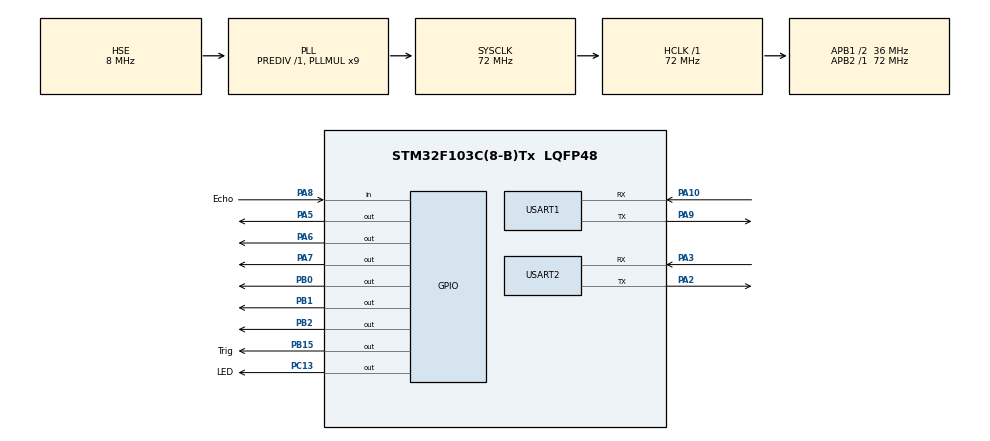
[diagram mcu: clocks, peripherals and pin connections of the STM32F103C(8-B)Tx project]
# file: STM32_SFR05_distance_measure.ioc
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Mcu.Family=STM32F1
Mcu.Name=STM32F103C(8-B)Tx
Mcu.Package=LQFP48
NVIC.PriorityGroup=NVIC_PRIORITYGROUP_4
NVIC.TIM2_IRQn=true\:0\:0\:false\:false\:true\:true\:true\:true
PA10.Mode=Asynchronous
PA10.Signal=USART1_RX
PA13.Mode=Serial_Wire
PA13.Signal=SYS_JTMS-SWDIO
PA14.Mode=Serial_Wire
PA14.Signal=SYS_JTCK-SWCLK
PA2.Mode=Asynchronous
PA2.Signal=USART2_TX
PA3.Mode=Asynchronous
PA3.Signal=USART2_RX
PA5.Signal=GPIO_Output
PA6.Signal=GPIO_Output
PA7.Signal=GPIO_Output
PA8.GPIO_Label=Echo
PA8.Signal=GPIO_Input
PA9.Mode=Asynchronous
PA9.Signal=USART1_TX
PB0.Signal=GPIO_Output
PB1.Signal=GPIO_Output
PB15.GPIO_Label=Trig
PB15.GPIO_Speed=GPIO_SPEED_FREQ_HIGH
PB15.Signal=GPIO_Output
PB2.Signal=GPIO_Output
PC13-TAMPER-RTC.GPIO_Label=LED
PC13-TAMPER-RTC.PinState=GPIO_PIN_SET
PC13-TAMPER-RTC.Signal=GPIO_Output
PD0-OSC_IN.Mode=HSE-External-Oscillator
PD0-OSC_IN.Signal=RCC_OSC_IN
PD1-OSC_OUT.Mode=HSE-External-Oscillator
PD1-OSC_OUT.Signal=RCC_OSC_OUT
ProjectManager.HeapSize=0x200
ProjectManager.StackSize=0x400
ProjectManager.TargetToolchain=CMake
RCC.AHBFreq_Value=72000000
RCC.APB1CLKDivider=RCC_HCLK_DIV2
RCC.APB1Freq_Value=36000000
RCC.APB1TimFreq_Value=72000000
RCC.APB2Freq_Value=72000000
RCC.APB2TimFreq_Value=72000000
RCC.HCLKFreq_Value=72000000
RCC.PLLMUL=RCC_PLL_MUL9
RCC.PLLSourceVirtual=RCC_PLLSOURCE_HSE
RCC.SYSCLKFreq_VALUE=72000000
RCC.SYSCLKSource=RCC_SYSCLKSOURCE_PLLCLK
RCC.USBFreq_Value=72000000
TIM2.Period=1999
TIM2.Prescaler=7199
USART1.VirtualMode=VM_ASYNC
USART2.VirtualMode=VM_ASYNC
VP_TIM2_VS_ClockSourceINT.Mode=Internal
board=custom

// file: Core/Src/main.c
/* USER CODE BEGIN Header */
/**
  ******************************************************************************
  * @file           : main.c
  * @brief          : Main program body
  ******************************************************************************
  * @attention
  *
  * Copyright (c) 2026 STMicroelectronics.
  * All rights reserved.
  *
  * This software is licensed under terms that can be found in the LICENSE file
  * in the root directory of this software component.
  * If no LICENSE file comes with this software, it is provided AS-IS.
  *
  ******************************************************************************
  */
/* USER CODE END Header */
#include "main.h"

/* USER CODE BEGIN Includes */
#include <stdio.h>
#include "app_config.h"
#include "lcd16x2.h"
/* USER CODE END Includes */

TIM_HandleTypeDef htim2;

UART_HandleTypeDef huart1;
UART_HandleTypeDef huart2;

/* USER CODE BEGIN PV */
volatile uint8_t led_blink_enabled = 0;
volatile uint16_t led_toggle_interval = 15; // Chu kỳ nháy: interval * 10ms
/* USER CODE END PV */

void SystemClock_Config(void);
static void MX_GPIO_Init(void);
static void MX_USART2_UART_Init(void);
static void MX_USART1_UART_Init(void);
static void MX_TIM2_Init(void);
/* USER CODE BEGIN PFP */
void DWT_Init(void);
void delay_us(uint32_t us);
uint32_t pulseIn(GPIO_TypeDef *GPIOx, uint16_t GPIO_Pin, GPIO_PinState state, uint32_t timeout_us);
float measureDistanceCM(void);
/* USER CODE END PFP */

/* USER CODE BEGIN 0 */
int _write(int file, char *ptr, int len)
{
  HAL_UART_Transmit(&huart1, (uint8_t *)ptr, len, HAL_MAX_DELAY);
  HAL_UART_Transmit(&huart2, (uint8_t *)ptr, len, HAL_MAX_DELAY);
  return len;
}

void DWT_Init(void)
{
  CoreDebug->DEMCR |= CoreDebug_DEMCR_TRCENA_Msk;
  DWT->CTRL |= DWT_CTRL_CYCCNTENA_Msk;
  DWT->CYCCNT = 0;
}

void delay_us(uint32_t us)
{
  uint32_t start = DWT->CYCCNT;
  uint32_t ticks = us * (SystemCoreClock / 1000000UL);
  while ((DWT->CYCCNT - start) < ticks);
}

uint32_t pulseIn(GPIO_TypeDef *GPIOx, uint16_t GPIO_Pin, GPIO_PinState state, uint32_t timeout_us)
{
  uint32_t timeout_ticks = timeout_us * (SystemCoreClock / 1000000UL);
  uint32_t min_ticks = 50UL * (SystemCoreClock / 1000000UL);
  uint32_t start_wait = DWT->CYCCNT;

  while ((DWT->CYCCNT - start_wait) < timeout_ticks)
  {
    while (HAL_GPIO_ReadPin(GPIOx, GPIO_Pin) == state)
    {
      if ((DWT->CYCCNT - start_wait) > timeout_ticks) return 0;
    }
    while (HAL_GPIO_ReadPin(GPIOx, GPIO_Pin) != state)
    {
      if ((DWT->CYCCNT - start_wait) > timeout_ticks) return 0;
    }
    uint32_t pulse_start = DWT->CYCCNT;
    while (HAL_GPIO_ReadPin(GPIOx, GPIO_Pin) == state)
    {
      if ((DWT->CYCCNT - pulse_start) > timeout_ticks) return 0;
    }
    uint32_t pulse_ticks = DWT->CYCCNT - pulse_start;
    if (pulse_ticks >= min_ticks)
    {
      return pulse_ticks / (SystemCoreClock / 1000000UL);
    }
  }
  return 0;
}

volatile uint32_t last_duration_us = 0;

float measureDistanceCM(void)
{
  // 1. Đảm bảo Trigger ở mức LOW trước khi phát
  HAL_GPIO_WritePin(TRIGGER_PORT, TRIGGER_PIN, GPIO_PIN_RESET);
  delay_us(4);

  // 2. Phát xung 10us kích hoạt SRF05
  HAL_GPIO_WritePin(TRIGGER_PORT, TRIGGER_PIN, GPIO_PIN_SET);
  delay_us(10);
  HAL_GPIO_WritePin(TRIGGER_PORT, TRIGGER_PIN, GPIO_PIN_RESET);

  // 3. Đọc độ rộng xung chân Echo
  uint32_t duration = pulseIn(ECHO_PORT, ECHO_PIN, GPIO_PIN_SET, MAX_ECHO_TIMEOUT_US);
  last_duration_us = duration;

  // 4. Lọc nhiễu:
  // - duration == 0: Hết thời gian chờ (không có sóng hồi / quá xa / tuột dây)
  // - duration < 116us: Khoảng cách < 2cm (ngoài vùng vật lý của SRF05 hoặc xung nhiễu điện)
  if (duration == 0)
  {
    return -1.0f; // Timeout / Không thấy vật thể
  }
  if (duration < 116)
  {
    return -2.0f; // Quá gần (< 2cm vùng mù) hoặc xung nhiễu
  }

  // Vận tốc âm thanh: 0.0343 cm/us -> khoảng cách = (thời gian * 0.0343) / 2
  return ((float)duration * SOUND_SPEED_CM_US) / 2.0f;
}
/* USER CODE END 0 */

int main(void)
{

  /* MCU Configuration--------------------------------------------------------*/

  /* Reset of all peripherals, Initializes the Flash interface and the Systick. */
  HAL_Init();

  /* Configure the system clock */
  SystemClock_Config();

  /* Initialize all configured peripherals */
  MX_GPIO_Init();
  MX_USART2_UART_Init();
  MX_USART1_UART_Init();
  MX_TIM2_Init();
  /* USER CODE BEGIN 2 */
  DWT_Init();

  // Đảm bảo ban đầu LED tắt hoàn toàn
  LED_OFF();

  // Cấu hình TIM2 ngắt định kỳ 10ms cố định (Prescaler=7199 -> 10kHz, Period=99 -> 10ms)
  // Không bao giờ đổi ARR khi đang chạy để tránh lỗi CNT > ARR làm đơ ngắt
  __HAL_TIM_SET_AUTORELOAD(&htim2, 99);
  htim2.Instance->CNT = 0;
  HAL_TIM_Base_Start_IT(&htim2);

  // Khởi tạo màn hình LCD 16x2 chế độ 4-bit
  lcd16x2_init(LCD16X2_DISPLAY_ON_CURSOR_OFF_BLINK_OFF);
  lcd16x2_gotoxy(0, 0);
  lcd16x2_puts("SRF05 Ultrasonic");
  lcd16x2_gotoxy(0, 1);
  lcd16x2_puts("Khoi dong...    ");

  HAL_Delay(1000);

  printf("\r\n==================================================\r\n");
  printf("   STM32 - DO KHOANG CACH SIEU AM SRF05           \r\n");
  printf("==================================================\r\n");
  printf("Trigger: PB15 | Echo: PA8 | LED: PC13\r\n");
  printf("LCD 16x2 (4-bit): RS=PB12, RW=PB13, EN=PB14, D4=PA4, D5=PA5, D6=PA6, D7=PA7\r\n");
  printf("Canh bao: Khoang cach tu %.1f cm den %.1f cm -> LED chop tat\r\n",
         DISTANCE_WARN_MIN_CM, DISTANCE_WARN_MAX_CM);
  printf("Output UART: USART1 (PA9_TX) & USART2 (PA2_TX) | Baud: %d\r\n", SERIAL_BAUD_RATE);

  HAL_Delay(200);
  /* USER CODE END 2 */

  /* Infinite loop */
  while (1)
  {

    /* USER CODE BEGIN 3 */
    float distance = measureDistanceCM();
    static uint8_t alert_active = 0;
    static uint8_t miss_count = 0;

    // Điều kiện cảnh báo: từ khoảng cách tối thiểu (2.0 cm) đến 10.0 cm hoặc vật thể sát cảm biến (< 2cm)
    if ((distance >= DISTANCE_WARN_MIN_CM && distance <= DISTANCE_WARN_MAX_CM) || (distance == -2.0f))
    {
      float d = (distance == -2.0f) ? DISTANCE_WARN_MIN_CM : distance;

      // Chu kỳ chớp tắt:
      // - Ở 10.0 cm: interval = 20 (toggle mỗi 200ms -> chu kỳ 400ms = 2.5 lần/giây, rất rõ ràng)
      // - Ở  2.0 cm: interval =  6 (toggle mỗi  60ms -> chu kỳ 120ms = ~8.3 lần/giây, cảnh báo nhanh)
      uint16_t interval = 6 + (uint16_t)((d - DISTANCE_WARN_MIN_CM) / (DISTANCE_WARN_MAX_CM - DISTANCE_WARN_MIN_CM) * 14.0f);
      if (interval < 5) interval = 5;

      led_toggle_interval = interval;
      led_blink_enabled = 1;
      alert_active = 1;
      miss_count = 0;

      printf("Dist: %6.2f cm [WARNING]\r\n",
             d, d * 10.0f, interval * 10);
    }
    else if (distance > DISTANCE_WARN_MAX_CM)
    {
      // Khoảng cách an toàn > 10cm: TẮT CẢNH BÁO NGAY LẬP TỨC
      alert_active = 0;
      miss_count = 0;
      led_blink_enabled = 0;
      LED_OFF();

      printf("Dist: %6.2f cm [SAFE]\r\n",
             distance, distance * 10.0f);
    }
    else // distance == -1.0f (Timeout)
    {
      if (alert_active && (++miss_count < 3))
      {
        // Vừa phát hiện vật cản trước đó mà bị lỡ 1-2 lần ping -> Tiếp tục duy trì nháy LED cảnh báo
        printf("[!] Tam thoi mat Echo (%d/2) -> Duy tri chop LED canh bao\r\n", miss_count);
      }
      else
      {
        alert_active = 0;
        miss_count = 0;
        led_blink_enabled = 0;
        LED_OFF();
        printf("[!] Khong nhan duoc Echo (Timeout > %lu us) [LED: TAT]\r\n", MAX_ECHO_TIMEOUT_US);
      }
    }

    // ==========================================
    // Cập nhật hiển thị LCD 16x2 (4-bit mode)
    // Hàng 1: "Dist: xx.x cm"
    // Hàng 2: "SAFE" nếu khoảng cách > 10cm, "WARNING" nếu <= 10cm
    // ==========================================
    char lcd_line1[17];
    char lcd_line2[17];

    if (distance >= DISTANCE_WARN_MIN_CM)
    {
      snprintf(lcd_line1, sizeof(lcd_line1), "Dist: %4.1f cm   ", distance);
    }
    else if (distance == -2.0f)
    {
      snprintf(lcd_line1, sizeof(lcd_line1), "Dist: < 2.0 cm  ");
    }
    else // distance == -1.0f (Timeout: vật quá xa hoặc ngoài góc phản hồi)
    {
      snprintf(lcd_line1, sizeof(lcd_line1), "Dist: Out Range ");
    }

    if (distance > DISTANCE_WARN_MAX_CM || (!alert_active && distance == -1.0f))
    {
      snprintf(lcd_line2, sizeof(lcd_line2), "SAFE            ");
    }
    else
    {
      snprintf(lcd_line2, sizeof(lcd_line2), "WARNING         ");
    }

    lcd16x2_gotoxy(0, 0);
    lcd16x2_puts(lcd_line1);
    lcd16x2_gotoxy(0, 1);
    lcd16x2_puts(lcd_line2);

    // Nghỉ 150ms để sóng dội tan hoàn toàn trong không gian
    HAL_Delay(MEASURE_INTERVAL_MS);
  }
  /* USER CODE END 3 */
}

void SystemClock_Config(void)
{
  RCC_OscInitTypeDef RCC_OscInitStruct = {0};
  RCC_ClkInitTypeDef RCC_ClkInitStruct = {0};

  /** Initializes the RCC Oscillators according to the specified parameters
  * in the RCC_OscInitTypeDef structure.
  */
  RCC_OscInitStruct.OscillatorType = RCC_OSCILLATORTYPE_HSE;
  RCC_OscInitStruct.HSEState = RCC_HSE_ON;
  RCC_OscInitStruct.HSEPredivValue = RCC_HSE_PREDIV_DIV1;
  RCC_OscInitStruct.HSIState = RCC_HSI_ON;
  RCC_OscInitStruct.PLL.PLLState = RCC_PLL_ON;
  RCC_OscInitStruct.PLL.PLLSource = RCC_PLLSOURCE_HSE;
  RCC_OscInitStruct.PLL.PLLMUL = RCC_PLL_MUL9;
  if (HAL_RCC_OscConfig(&RCC_OscInitStruct) != HAL_OK)
  {
    Error_Handler();
  }

  /** Initializes the CPU, AHB and APB buses clocks
  */
  RCC_ClkInitStruct.ClockType = RCC_CLOCKTYPE_HCLK|RCC_CLOCKTYPE_SYSCLK
                              |RCC_CLOCKTYPE_PCLK1|RCC_CLOCKTYPE_PCLK2;
  RCC_ClkInitStruct.SYSCLKSource = RCC_SYSCLKSOURCE_PLLCLK;
  RCC_ClkInitStruct.AHBCLKDivider = RCC_SYSCLK_DIV1;
  RCC_ClkInitStruct.APB1CLKDivider = RCC_HCLK_DIV2;
  RCC_ClkInitStruct.APB2CLKDivider = RCC_HCLK_DIV1;

  if (HAL_RCC_ClockConfig(&RCC_ClkInitStruct, FLASH_LATENCY_2) != HAL_OK)
  {
    Error_Handler();
  }
}

static void MX_TIM2_Init(void)
{

  TIM_ClockConfigTypeDef sClockSourceConfig = {0};
  TIM_MasterConfigTypeDef sMasterConfig = {0};

  htim2.Instance = TIM2;
  htim2.Init.Prescaler = 7199;
  htim2.Init.CounterMode = TIM_COUNTERMODE_UP;
  htim2.Init.Period = 1999;
  htim2.Init.ClockDivision = TIM_CLOCKDIVISION_DIV1;
  htim2.Init.AutoReloadPreload = TIM_AUTORELOAD_PRELOAD_DISABLE;
  if (HAL_TIM_Base_Init(&htim2) != HAL_OK)
  {
    Error_Handler();
  }
  sClockSourceConfig.ClockSource = TIM_CLOCKSOURCE_INTERNAL;
  if (HAL_TIM_ConfigClockSource(&htim2, &sClockSourceConfig) != HAL_OK)
  {
    Error_Handler();
  }
  sMasterConfig.MasterOutputTrigger = TIM_TRGO_RESET;
  sMasterConfig.MasterSlaveMode = TIM_MASTERSLAVEMODE_DISABLE;
  if (HAL_TIMEx_MasterConfigSynchronization(&htim2, &sMasterConfig) != HAL_OK)
  {
    Error_Handler();
  }

}

static void MX_USART1_UART_Init(void)
{

  huart1.Instance = USART1;
  huart1.Init.BaudRate = 115200;
  huart1.Init.WordLength = UART_WORDLENGTH_8B;
  huart1.Init.StopBits = UART_STOPBITS_1;
  huart1.Init.Parity = UART_PARITY_NONE;
  huart1.Init.Mode = UART_MODE_TX_RX;
  huart1.Init.HwFlowCtl = UART_HWCONTROL_NONE;
  huart1.Init.OverSampling = UART_OVERSAMPLING_16;
  if (HAL_UART_Init(&huart1) != HAL_OK)
  {
    Error_Handler();
  }

}

static void MX_USART2_UART_Init(void)
{

  huart2.Instance = USART2;
  huart2.Init.BaudRate = 115200;
  huart2.Init.WordLength = UART_WORDLENGTH_8B;
  huart2.Init.StopBits = UART_STOPBITS_1;
  huart2.Init.Parity = UART_PARITY_NONE;
  huart2.Init.Mode = UART_MODE_TX_RX;
  huart2.Init.HwFlowCtl = UART_HWCONTROL_NONE;
  huart2.Init.OverSampling = UART_OVERSAMPLING_16;
  if (HAL_UART_Init(&huart2) != HAL_OK)
  {
    Error_Handler();
  }

}

static void MX_GPIO_Init(void)
{
  GPIO_InitTypeDef GPIO_InitStruct = {0};

  /* GPIO Ports Clock Enable */
  __HAL_RCC_GPIOC_CLK_ENABLE();
  __HAL_RCC_GPIOD_CLK_ENABLE();
  __HAL_RCC_GPIOA_CLK_ENABLE();
  __HAL_RCC_GPIOB_CLK_ENABLE();

  /*Configure GPIO pin Output Level */
  HAL_GPIO_WritePin(LED_GPIO_Port, LED_Pin, GPIO_PIN_SET);

  /*Configure GPIO pin Output Level */
  HAL_GPIO_WritePin(GPIOA, GPIO_PIN_5|GPIO_PIN_6|GPIO_PIN_7, GPIO_PIN_RESET);

  /*Configure GPIO pin Output Level */
  HAL_GPIO_WritePin(GPIOB, GPIO_PIN_0|GPIO_PIN_1|GPIO_PIN_2|Trig_Pin, GPIO_PIN_RESET);

  /*Configure GPIO pin : LED_Pin */
  GPIO_InitStruct.Pin = LED_Pin;
  GPIO_InitStruct.Mode = GPIO_MODE_OUTPUT_PP;
  GPIO_InitStruct.Pull = GPIO_NOPULL;
  GPIO_InitStruct.Speed = GPIO_SPEED_FREQ_LOW;
  HAL_GPIO_Init(LED_GPIO_Port, &GPIO_InitStruct);

  /*Configure GPIO pins : PA5 PA6 PA7 */
  GPIO_InitStruct.Pin = GPIO_PIN_5|GPIO_PIN_6|GPIO_PIN_7;
  GPIO_InitStruct.Mode = GPIO_MODE_OUTPUT_PP;
  GPIO_InitStruct.Pull = GPIO_NOPULL;
  GPIO_InitStruct.Speed = GPIO_SPEED_FREQ_LOW;
  HAL_GPIO_Init(GPIOA, &GPIO_InitStruct);

  /*Configure GPIO pins : PB0 PB1 PB2 */
  GPIO_InitStruct.Pin = GPIO_PIN_0|GPIO_PIN_1|GPIO_PIN_2;
  GPIO_InitStruct.Mode = GPIO_MODE_OUTPUT_PP;
  GPIO_InitStruct.Pull = GPIO_NOPULL;
  GPIO_InitStruct.Speed = GPIO_SPEED_FREQ_LOW;
  HAL_GPIO_Init(GPIOB, &GPIO_InitStruct);

  /*Configure GPIO pin : Trig_Pin */
  GPIO_InitStruct.Pin = Trig_Pin;
  GPIO_InitStruct.Mode = GPIO_MODE_OUTPUT_PP;
  GPIO_InitStruct.Pull = GPIO_NOPULL;
  GPIO_InitStruct.Speed = GPIO_SPEED_FREQ_HIGH;
  HAL_GPIO_Init(Trig_GPIO_Port, &GPIO_InitStruct);

  /*Configure GPIO pin : Echo_Pin */
  GPIO_InitStruct.Pin = Echo_Pin;
  GPIO_InitStruct.Mode = GPIO_MODE_INPUT;
  GPIO_InitStruct.Pull = GPIO_NOPULL;
  HAL_GPIO_Init(Echo_GPIO_Port, &GPIO_InitStruct);

  /* USER CODE BEGIN MX_GPIO_Init_2 */
  GPIO_InitStruct.Pin = Echo_Pin;
  GPIO_InitStruct.Mode = GPIO_MODE_INPUT;
  GPIO_InitStruct.Pull = GPIO_PULLDOWN;
  HAL_GPIO_Init(Echo_GPIO_Port, &GPIO_InitStruct);

  // Đảm bảo LED tắt ngay sau khi khởi tạo GPIO
  LED_OFF();
  /* USER CODE END MX_GPIO_Init_2 */
}

/* USER CODE BEGIN 4 */
void HAL_TIM_PeriodElapsedCallback(TIM_HandleTypeDef *htim)
{
  if (htim->Instance == TIM2)
  {
    static uint16_t timer_10ms_count = 0;
    static uint8_t led_state = 0;

    if (led_blink_enabled)
    {
      timer_10ms_count++;
      if (timer_10ms_count >= led_toggle_interval)
      {
        timer_10ms_count = 0;
        led_state = !led_state;
        if (led_state)
        {
          LED_ON();
        }
        else
        {
          LED_OFF();
        }
      }
    }
    else
    {
      timer_10ms_count = 0;
      led_state = 0;
      LED_OFF(); // Đảm bảo LED tắt hoàn toàn 100%
    }
  }
}
/* USER CODE END 4 */

void Error_Handler(void)
{
  __disable_irq();
  while (1)
  {
  }
}
